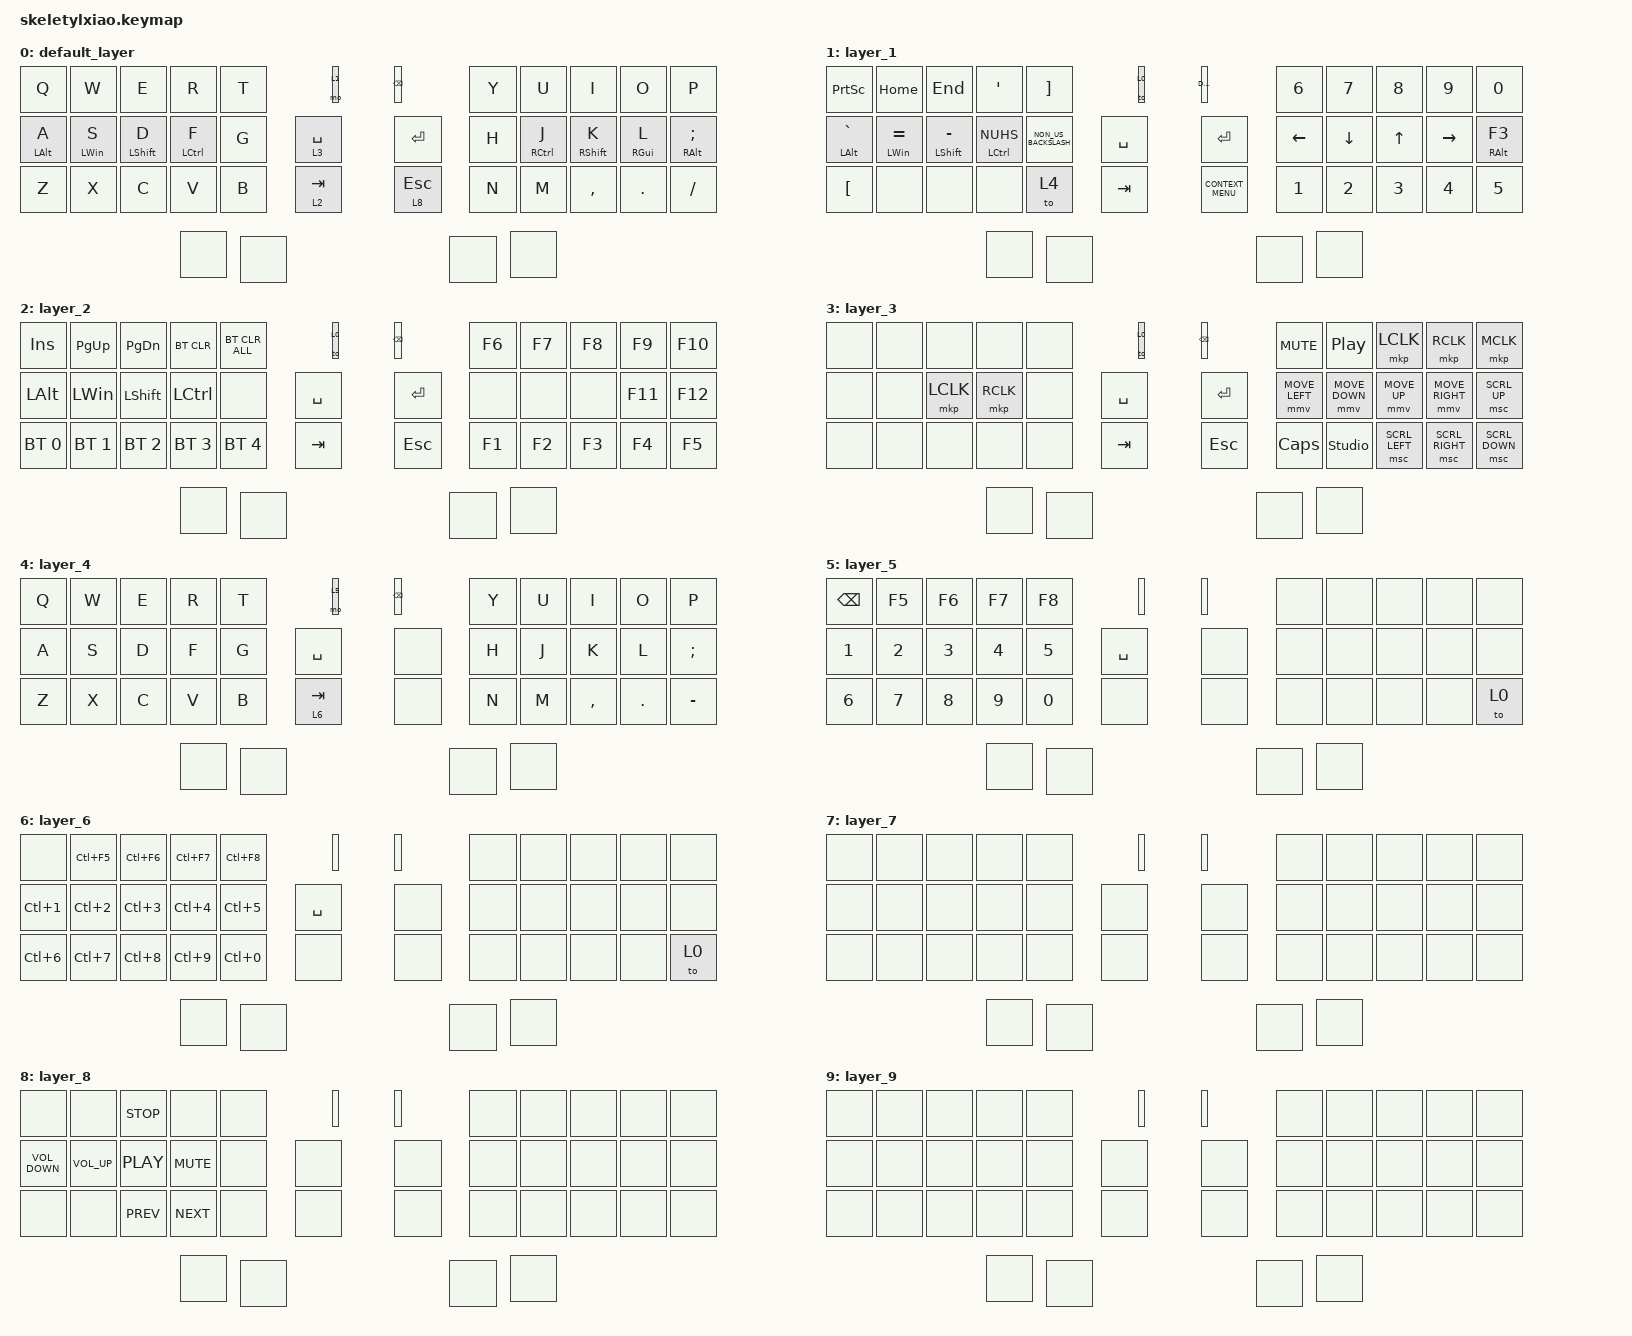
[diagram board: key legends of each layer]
/*
 * Copyright (c) 2020 The ZMK Contributors
 * 
 * SPDX-License-Identifier: MIT
 */

#define ZMK_POINTING_DEFAULT_MOVE_VAL 8000  // default: 600
#define ZMK_POINTING_DEFAULT_SCRL_VAL 20    // default: 20

#include <behaviors.dtsi>
#include <dt-bindings/zmk/bt.h>
#include <dt-bindings/zmk/keys.h>
#include <dt-bindings/zmk/pointing.h>

/ {
    behaviors {
        hm: homerow_mods {
            compatible = "zmk,behavior-hold-tap";
            #binding-cells = <2>;
            tapping-term-ms = <150>;
            flavor = "tap-preferred";
            require-prior-idle-ms = <125>;
            bindings = <&kp>, <&kp>;
        };
    };

    combos { compatible = "zmk,combos"; };

    keymap {
        compatible = "zmk,keymap";

        default_layer {
            bindings = <
  &kp Q           &kp W           &kp E             &kp R        &kp T  &kp Y          &kp U        &kp I              &kp O            &kp P
  &hm LEFT_ALT A  &hm LEFT_WIN S  &hm LEFT_SHIFT D  &hm LCTRL F  &kp G  &kp H          &hm RCTRL J  &hm RIGHT_SHIFT K  &hm RIGHT_GUI L  &hm RIGHT_ALT SEMI
  &kp Z           &kp X           &kp C             &kp V        &kp B  &kp N          &kp M        &kp COMMA          &kp DOT          &kp FSLH
  &none           &none           &lt 2 TAB         &lt 3 SPACE  &mo 1  &kp BACKSPACE  &kp ENTER    &lt 8 ESCAPE       &none            &none
            >;
        };

        layer_1 {
            bindings = <
  &kp PRINTSCREEN     &kp HOME            &kp END               &kp APOS        &kp RBKT              &kp N6      &kp N7     &kp N8              &kp N9     &kp N0
  &hm LEFT_ALT GRAVE  &hm LEFT_WIN EQUAL  &hm LEFT_SHIFT MINUS  &hm LCTRL NUHS  &kp NON_US_BACKSLASH  &kp LEFT    &kp DOWN   &kp UP              &kp RIGHT  &hm RIGHT_ALT F3
  &kp LEFT_BRACKET    &none               &none                 &none           &to 4                 &kp N1      &kp N2     &kp N3              &kp N4     &kp N5
  &none               &none               &kp TAB               &kp SPACE       &to 0                 &kp DELETE  &kp ENTER  &kp K_CONTEXT_MENU  &none      &none
            >;
        };

        layer_2 {
            bindings = <
  &kp INSERT    &kp PG_UP     &kp PG_DN       &bt BT_CLR        &bt BT_CLR_ALL  &kp F6         &kp F7     &kp F8   &kp F9   &kp F10
  &kp LEFT_ALT  &kp LEFT_WIN  &kp LEFT_SHIFT  &kp LEFT_CONTROL  &none           &none          &none      &none    &kp F11  &kp F12
  &bt BT_SEL 0  &bt BT_SEL 1  &bt BT_SEL 2    &bt BT_SEL 3      &bt BT_SEL 4    &kp F1         &kp F2     &kp F3   &kp F4   &kp F5
  &none         &none         &kp TAB         &kp SPACE         &to 0           &kp BACKSPACE  &kp ENTER  &kp ESC  &none    &none
            >;
        };

        layer_3 {
            bindings = <
  &none  &none  &none      &none      &none  &kp C_MUTE      &kp C_PP        &mkp LCLK       &mkp RCLK        &mkp MCLK
  &none  &none  &mkp LCLK  &mkp RCLK  &none  &mmv MOVE_LEFT  &mmv MOVE_DOWN  &mmv MOVE_UP    &mmv MOVE_RIGHT  &msc SCRL_UP
  &none  &none  &none      &none      &none  &kp CAPSLOCK    &studio_unlock  &msc SCRL_LEFT  &msc SCRL_RIGHT  &msc SCRL_DOWN
  &none  &none  &kp TAB    &kp SPACE  &to 0  &kp BACKSPACE   &kp ENTER       &kp ESC         &none            &none
            >;
        };

        layer_4 {
            bindings = <
  &kp Q  &kp W  &kp E      &kp R      &kp T  &kp Y          &kp U  &kp I      &kp O       &kp P
  &kp A  &kp S  &kp D      &kp F      &kp G  &kp H          &kp J  &kp K      &kp L       &kp SEMICOLON
  &kp Z  &kp X  &kp C      &kp V      &kp B  &kp N          &kp M  &kp COMMA  &kp PERIOD  &kp MINUS
  &none  &none  &lt 6 TAB  &kp SPACE  &mo 5  &kp BACKSPACE  &none  &none      &none       &none
            >;
        };

        layer_5 {
            bindings = <
  &kp BACKSPACE  &kp F5        &kp F6        &kp F7        &kp F8  &none  &none  &none  &none  &none
  &kp NUMBER_1   &kp NUMBER_2  &kp NUMBER_3  &kp NUMBER_4  &kp N5  &none  &none  &none  &none  &none
  &kp NUMBER_6   &kp N7        &kp N8        &kp N9        &kp N0  &none  &none  &none  &none  &to 0
  &none          &none         &none         &kp SPACE     &none   &none  &none  &none  &none  &none
            >;
        };

        layer_6 {
            bindings = <
  &none             &kp LC(F5)        &kp LC(F6)        &kp LC(F7)        &kp LC(F8)  &none  &none  &none  &none  &none
  &kp LC(NUMBER_1)  &kp LC(NUMBER_2)  &kp LC(NUMBER_3)  &kp LC(NUMBER_4)  &kp LC(N5)  &none  &none  &none  &none  &none
  &kp LC(NUMBER_6)  &kp LC(N7)        &kp LC(N8)        &kp LC(N9)        &kp LC(N0)  &none  &none  &none  &none  &to 0
  &none             &none             &none             &kp SPACE         &none       &none  &none  &none  &none  &none
            >;
        };

        layer_7 {
            bindings = <
  &none  &none  &none  &none  &none  &none  &none  &none  &none  &none
  &none  &none  &none  &none  &none  &none  &none  &none  &none  &none
  &none  &none  &none  &none  &none  &none  &none  &none  &none  &none
  &none  &none  &none  &none  &none  &none  &none  &none  &none  &none
            >;
        };

        layer_8 {
            bindings = <
  &none              &none            &kp C_STOP  &none       &none  &none  &none  &none  &none  &none
  &kp C_VOLUME_DOWN  &kp C_VOLUME_UP  &kp C_PLAY  &kp C_MUTE  &none  &none  &none  &none  &none  &none
  &none              &none            &kp C_PREV  &kp C_NEXT  &none  &none  &none  &none  &none  &none
  &none              &none            &none       &none       &none  &none  &none  &none  &none  &none
            >;
        };

        layer_9 {
            bindings = <
  &none  &none  &none  &none  &none  &none  &none  &none  &none  &none
  &none  &none  &none  &none  &none  &none  &none  &none  &none  &none
  &none  &none  &none  &none  &none  &none  &none  &none  &none  &none
  &none  &none  &none  &none  &none  &none  &none  &none  &none  &none
            >;
        };
    };
};
